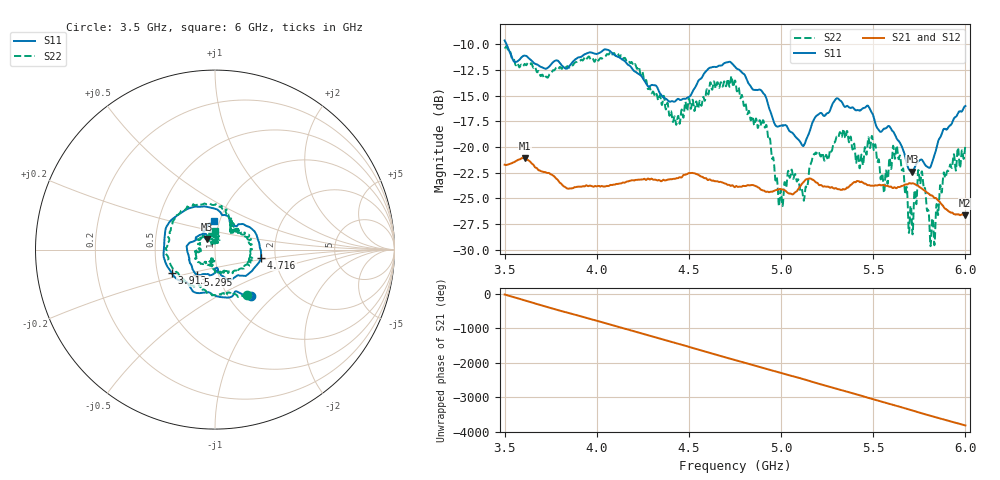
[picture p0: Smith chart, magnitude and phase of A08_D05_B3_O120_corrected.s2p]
! Created with skrf 1.9.0 (http://scikit-rf.org).
# Hz S RI R 50.0
!freq ReS11 ImS11 ReS21 ImS21 ReS12 ImS12 ReS22 ImS22
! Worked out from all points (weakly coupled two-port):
!   1601 points, 3.5 GHz to 6 GHz, reference 50 ohm
!   highest |S21| = -21.07 dB at 3.609 GHz (marker M1); lowest = -26.6 dB at 5.998 GHz (marker M2)
!   lowest |S11| = -22.4 dB at 5.713 GHz (marker M3), VSWR 1.16, Z = 45.2 + j5.43 ohm
!   |S11| at or under -10 dB: 3.511 GHz to end of sweep
!   |S22| runs from -29.6 to -10.2 dB; largest |S21 - S12| = 0.001
!   S11 on the Smith chart (normalised r, x): 3.5 GHz: 1.26, -0.74; 3.913 GHz: 0.59, -0.17; 4.716 GHz: 1.68, -0.16; 5.295 GHz: 0.79, -0.23; 6 GHz: 0.94, +0.30
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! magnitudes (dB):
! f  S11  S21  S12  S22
! 3.5 GHz  -9.6  -21.7  -21.7  -10.3
! 3.609 GHz  -11.1  -21.1  -21.1  -11.9
! 3.913 GHz  -11.2  -23.9  -23.8  -11.5
! 3.917 GHz  -11.2  -23.9  -23.8  -11.5
! 4.334 GHz  -14.5  -23.2  -23.2  -15.4
! 4.441 GHz  -15.3  -23.0  -23.0  -17.0
! 4.716 GHz  -11.7  -23.7  -23.7  -13.8
! 4.75 GHz  -12.2  -23.9  -23.8  -13.5
! 4.914 GHz  -15.0  -24.3  -24.3  -18.1
! 4.998 GHz  -17.9  -24.1  -24.1  -24.2
! 5.048 GHz  -18.5  -24.5  -24.5  -22.9
! 5.13 GHz  -19.6  -23.2  -23.2  -24.3
! 5.167 GHz  -17.8  -23.2  -23.1  -21.3
! 5.295 GHz  -15.4  -24.0  -24.0  -19.4
! 5.584 GHz  -18.0  -23.8  -23.8  -21.8
! 5.636 GHz  -19.4  -23.9  -23.9  -21.1
! 5.713 GHz  -22.4  -23.5  -23.5  -28.5
! 5.755 GHz  -21.3  -23.9  -23.9  -23.6
! 5.822 GHz  -21.4  -24.7  -24.7  -26.9
! 5.891 GHz  -18.2  -26.0  -26.0  -23.0
! 5.998 GHz  -16.0  -26.6  -26.6  -20.0
! 6 GHz  -16.0  -26.6  -26.6  -19.8
